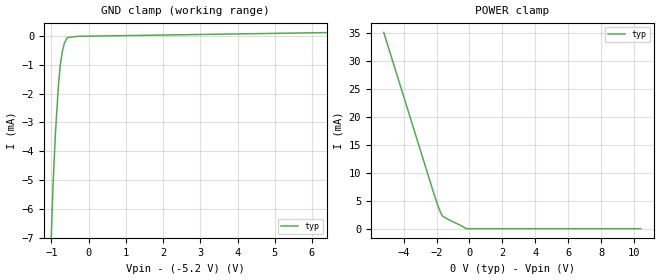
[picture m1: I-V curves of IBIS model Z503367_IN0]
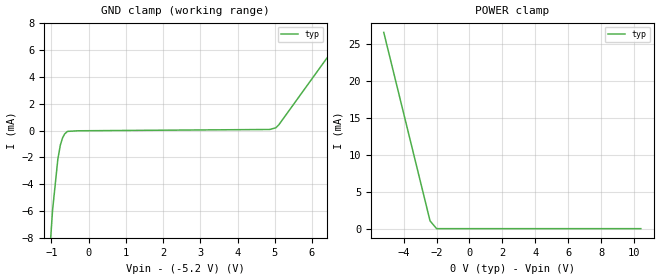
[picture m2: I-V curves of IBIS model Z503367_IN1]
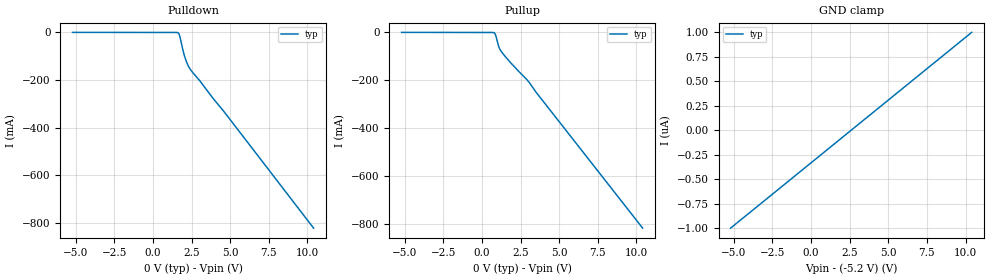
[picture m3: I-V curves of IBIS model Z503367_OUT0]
| YOU ARE ONLY AUTHORIZED TO USE THIS SOFTWARE
| ACCORDING TO LICENSOR'S LICENSE RESTRICTIONS.
[IBIS Ver] 3.1
[File Name] mc100e157fn.ibs
[File Rev] 2.0
[Source] Measured and created by ICX Technology
[Date] Friday 7/14/00 9:07:47 AM
[Copyright]
| (C) COPYRIGHT 1993-2000
| MENTOR GRAPHICS CORPORATION
| ICX STANDARD LIBRARY, ICX PROJECT MODELING,
| ICX CUSTOM MODELING, ICX VENDOR MODEL
| ALL RIGHTS RESERVED.
| THE FOLLOWING ARE TRADEMARKS OR SERVICE MARKS OF
| MENTOR GRAPHICS CORPORATION:ICX (R), ICX STANDARD
| LIBRARY(R), ICX PROJECT MODELING(R), ICX CUSTOM
| MODELING(R), qualityIBIS(TM), MODELVIEWER(TM),
| AND MODELEDITOR(TM)
| ALL COPIES OF SOFTWARE, INCLUDING BUT NOT LIMITED TO
| ANY MODIFICATIONS, ENHANCEMENTS OR DERIVATIVE WORKS,
| MUST CONTAIN ALL MENTOR GRAPHICS CORPORATION'S
| NOTICES AND LEGENDS, INCLUDING THOSE EMBEDDED IN
| SOFTWARE AND THOSE AFFIXED TO SOFTWARE MEDIUM
| AND CONTAINER, AS RECEIVED FROM MENTOR GRAPHICS
| CORPORATION.
|  ZAP Model Builder 2.7
[Component] MC100E157FN
[Manufacturer] OnSemiconductor
[Package]
| variable   typ   min   max
R_pkg  .083ohms NA NA
L_pkg  4.299nH NA NA
C_pkg  1.045pF NA NA
[Pin] signal_name  model_name  R_pin  L_pin C_pin
1 VEE POWER .08 3.94n .925p
2 SEL1 Z503367_IN0 .082 4.14n .995p
3 D1A Z503367_IN1 .084 4.354n 1.065p
4 D1B Z503367_IN1 .086 4.583n 1.135p
5 SEL0 Z503367_IN0 .086 4.583n 1.135p
6 D0A Z503367_IN1 .084 4.354n 1.065p
7 D0B Z503367_IN1 .082 4.14n .995p
8 NC NC .08 3.94n .925p
9 NC NC .082 4.14n .995p
10 NC NC .084 4.354n 1.065p
11 VCCO POWER .086 4.583n 1.135p
12 Q0 Z503367_OUT0 .086 4.583n 1.135p
13 _Q0 Z503367_OUT1 .084 4.354n 1.065p
14 Q1 Z503367_OUT0 .082 4.14n .995p
15 _Q1 Z503367_OUT1 .08 3.94n .925p
16 VCC POWER .082 4.14n .995p
17 Q2 Z503367_OUT0 .084 4.354n 1.065p
18 _Q2 Z503367_OUT1 .086 4.583n 1.135p
19 Q3 Z503367_OUT0 .086 4.583n 1.135p
20 _Q3 Z503367_OUT1 .084 4.354n 1.065p
21 VCCO POWER .082 4.14n .995p
22 D3B Z503367_IN1 .08 3.94n .925p
23 D3A Z503367_IN1 .082 4.14n .995p
24 NC NC .084 4.354n 1.065p
25 SEL3 Z503367_IN0 .086 4.583n 1.135p
26 D2B Z503367_IN1 .086 4.583n 1.135p
27 D2A Z503367_IN1 .084 4.354n 1.065p
28 SEL2 Z503367_IN0 .082 4.14n .995p
| Models and submodels in the file (4): Z503367_IN0 (Input_ECL), Z503367_IN1 (Input_ECL), Z503367_OUT0 (Output_ECL), Z503367_OUT1 (Output_ECL)
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| (C) COPYRIGHT 1993-2000
| MENTOR GRAPHICS CORPORATION
| ICX STANDARD LIBRARY, ICX PROJECT MODELING,
| ICX CUSTOM MODELING, ICX VENDOR MODEL
| ALL RIGHTS RESERVED.
| THE FOLLOWING ARE TRADEMARKS OR SERVICE MARKS OF
| MENTOR GRAPHICS CORPORATION:ICX (R), ICX STANDARD
| LIBRARY(R), ICX PROJECT MODELING(R), ICX CUSTOM
| MODELING(R), qualityIBIS(TM), MODELVIEWER(TM),
| AND MODELEDITOR(TM)
| ALL COPIES OF SOFTWARE, INCLUDING BUT NOT LIMITED TO
| ANY MODIFICATIONS, ENHANCEMENTS OR DERIVATIVE WORKS,
| MUST CONTAIN ALL MENTOR GRAPHICS CORPORATION'S
| NOTICES AND LEGENDS, INCLUDING THOSE EMBEDDED IN
| SOFTWARE AND THOSE AFFIXED TO SOFTWARE MEDIUM
| AND CONTAINER, AS RECEIVED FROM MENTOR GRAPHICS
| CORPORATION.
| Model Application Version 1.89 2/18/99.
[Model] Z503367_IN0
Model_type Input_ECL
Vinl = -1.475V
Vinh = -1.165V
C_comp 4.000pF NA NA
| variable typ   min   max
[Voltage Range] -5.200V NA NA
[GND Clamp Reference] -5.200V NA NA
[POWER Clamp Reference] 0.000V NA NA
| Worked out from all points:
|   GND clamp passes 1 mA (typ) near -0.76 V on its own axis
[GND Clamp]
-5.2V     -241.6mA   NA         NA
-1.102V   -10.67mA   NA         NA
-958mV    -5.199mA   NA         NA
-894mV    -3.397mA   NA         NA
-813mV    -1.722mA   NA         NA
-762mV    -993.2uA   NA         NA
-704mV    -511.5uA   NA         NA
-649mV    -238.1uA   NA         NA
-571mV    -58.47uA   NA         NA
-285.5mV  -15.85uA   NA         NA
10.4V     189.8uA    NA         NA
[POWER Clamp]
-5.2V     35.08mA    NA         NA
-2.197V   6.615mA    NA         NA
-1.978V   4.639mA    NA         NA
-1.776V   3.017mA    NA         NA
-1.68V    2.452mA    NA         NA
-1.621V   2.222mA    NA         NA
-1.289V   1.659mA    NA         NA
-405.2mV  382uA      NA         NA
-202.6mV  0A         NA         NA
10.4V     0A         NA         NA
| (C) COPYRIGHT 1993-2000
| MENTOR GRAPHICS CORPORATION
| ICX STANDARD LIBRARY, ICX PROJECT MODELING,
| ICX CUSTOM MODELING, ICX VENDOR MODEL
| ALL RIGHTS RESERVED.
| THE FOLLOWING ARE TRADEMARKS OR SERVICE MARKS OF
| MENTOR GRAPHICS CORPORATION:ICX (R), ICX STANDARD
| LIBRARY(R), ICX PROJECT MODELING(R), ICX CUSTOM
| MODELING(R), qualityIBIS(TM), MODELVIEWER(TM),
| AND MODELEDITOR(TM)
| ALL COPIES OF SOFTWARE, INCLUDING BUT NOT LIMITED TO
| ANY MODIFICATIONS, ENHANCEMENTS OR DERIVATIVE WORKS,
| MUST CONTAIN ALL MENTOR GRAPHICS CORPORATION'S
| NOTICES AND LEGENDS, INCLUDING THOSE EMBEDDED IN
| SOFTWARE AND THOSE AFFIXED TO SOFTWARE MEDIUM
| AND CONTAINER, AS RECEIVED FROM MENTOR GRAPHICS
| CORPORATION.
| Model Application Version 1.89 2/18/99.
[Model] Z503367_IN1
Model_type Input_ECL
Vinl = -1.475V
Vinh = -1.165V
C_comp 4.000pF NA NA
| variable typ   min   max
[Voltage Range] -5.200V NA NA
[GND Clamp Reference] -5.200V NA NA
[POWER Clamp Reference] 0.000V NA NA
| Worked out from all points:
|   GND clamp passes 1 mA (typ) near -0.75 V on its own axis
[GND Clamp]
-5.2V     -252mA     NA         NA
-1.097V   -11.1mA    NA         NA
-971mV    -5.927mA   NA         NA
-829mV    -2.133mA   NA         NA
-761mV    -1.07mA    NA         NA
-703mV    -557.5uA   NA         NA
-648mV    -260.8uA   NA         NA
-571mV    -63.87uA   NA         NA
4.868V    78.43uA    NA         NA
5.029V    206.2uA    NA         NA
5.109V    425.7uA    NA         NA
10.4V     20.71mA    NA         NA
[POWER Clamp]
-5.2V     26.54mA    NA         NA
-2.392V   1.054mA    NA         NA
-1.993V   0A         NA         NA
10.4V     0A         NA         NA
| (C) COPYRIGHT 1993-2000
| MENTOR GRAPHICS CORPORATION
| ICX STANDARD LIBRARY, ICX PROJECT MODELING,
| ICX CUSTOM MODELING, ICX VENDOR MODEL
| ALL RIGHTS RESERVED.
| THE FOLLOWING ARE TRADEMARKS OR SERVICE MARKS OF
| MENTOR GRAPHICS CORPORATION:ICX (R), ICX STANDARD
| LIBRARY(R), ICX PROJECT MODELING(R), ICX CUSTOM
| MODELING(R), qualityIBIS(TM), MODELVIEWER(TM),
| AND MODELEDITOR(TM)
| ALL COPIES OF SOFTWARE, INCLUDING BUT NOT LIMITED TO
| ANY MODIFICATIONS, ENHANCEMENTS OR DERIVATIVE WORKS,
| MUST CONTAIN ALL MENTOR GRAPHICS CORPORATION'S
| NOTICES AND LEGENDS, INCLUDING THOSE EMBEDDED IN
| SOFTWARE AND THOSE AFFIXED TO SOFTWARE MEDIUM
| AND CONTAINER, AS RECEIVED FROM MENTOR GRAPHICS
| CORPORATION.
| Model Application Version 1.89 2/18/99.
[Model] Z503367_OUT0
Model_type Output_ECL
Vref=-2.000V
Rref=50.00ohms
Cref=0.000F
Vmeas=-1.320V
C_comp 8.000pF NA NA
| variable typ   min   max
[Voltage Range] -5.200V NA NA
[POWER Clamp Reference] 0.000V NA NA
[Pullup Reference] 0.000V NA NA
[Pulldown Reference] 0.000V NA NA
[GND Clamp Reference] -5.200V NA NA
[GND Clamp]
-5.2V     -1uA       NA         NA
10.4V     1uA        NA         NA
[Pulldown]
-5.2V     403.9uA    NA         NA
1.643V    -1.955mA   NA         NA
1.698V    -7.314mA   NA         NA
1.763V    -21.41mA   NA         NA
1.943V    -74.09mA   NA         NA
2.052V    -100.2mA   NA         NA
2.169V    -122.8mA   NA         NA
2.309V    -143.1mA   NA         NA
2.432V    -155.8mA   NA         NA
4.6V      -332.3mA   NA         NA
10.4V     -821.7mA   NA         NA
[Pullup]
-5.2V     503.4uA    NA         NA
664.7mV   50.69uA    NA         NA
824.8mV   -2.723mA   NA         NA
893.3mV   -11.93mA   NA         NA
1.065V    -53.94mA   NA         NA
1.118V    -63.58mA   NA         NA
1.256V    -79.82mA   NA         NA
1.827V    -124.3mA   NA         NA
3.04V     -206.9mA   NA         NA
3.472V    -247.3mA   NA         NA
10.4V     -818.7mA   NA         NA
[POWER Clamp]
-5.2V     0A         NA         NA
10.4V     0A         NA         NA
[Ramp]
| variable typ min max
dV/dt_r 476.3m/242.1p NA NA
dV/dt_f 476.3m/249.8p NA NA
R_load = 500.0Ohms
